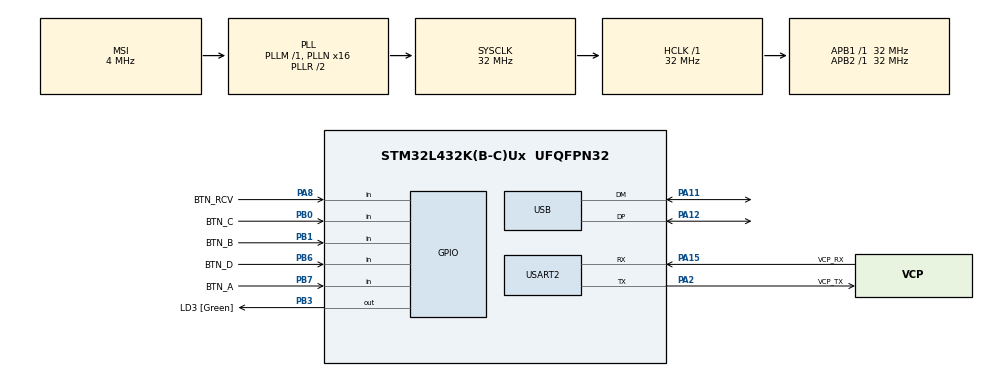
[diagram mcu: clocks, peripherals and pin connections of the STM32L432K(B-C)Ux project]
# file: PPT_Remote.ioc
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Dma.Request0=USART2_TX
Dma.USART2_TX.0.Direction=DMA_MEMORY_TO_PERIPH
Dma.USART2_TX.0.Instance=DMA1_Channel7
Dma.USART2_TX.0.MemDataAlignment=DMA_MDATAALIGN_BYTE
Dma.USART2_TX.0.MemInc=DMA_MINC_ENABLE
Dma.USART2_TX.0.Mode=DMA_NORMAL
Dma.USART2_TX.0.PeriphDataAlignment=DMA_PDATAALIGN_BYTE
Dma.USART2_TX.0.PeriphInc=DMA_PINC_DISABLE
Dma.USART2_TX.0.Priority=DMA_PRIORITY_LOW
Mcu.Family=STM32L4
Mcu.Name=STM32L432K(B-C)Ux
Mcu.Package=UFQFPN32
NVIC.DMA1_Channel7_IRQn=true\:0\:0\:false\:false\:true\:false
NVIC.PriorityGroup=NVIC_PRIORITYGROUP_4
NVIC.USART2_IRQn=true\:0\:0\:false\:false\:true\:true
NVIC.USB_IRQn=true\:0\:0\:false\:false\:true\:false
PA0.GPIO_Label=MCO [High speed clock in]
PA0.Mode=HSE-External-Clock-Source-for-LittleOrca
PA0.Signal=RCC_CK_IN
PA11.Mode=Device
PA11.Signal=USB_DM
PA12.Mode=Device
PA12.Signal=USB_DP
PA13\ (JTMS-SWDIO).GPIO_Label=SWDIO
PA13\ (JTMS-SWDIO).Mode=Serial_Wire
PA13\ (JTMS-SWDIO).Signal=SYS_JTMS-SWDIO
PA14\ (JTCK-SWCLK).GPIO_Label=SWCLK
PA14\ (JTCK-SWCLK).Mode=Serial_Wire
PA14\ (JTCK-SWCLK).Signal=SYS_JTCK-SWCLK
PA15\ (JTDI).GPIO_Label=VCP_RX
PA15\ (JTDI).Mode=Asynchronous
PA15\ (JTDI).Signal=USART2_RX
PA2.GPIO_Label=VCP_TX
PA2.Mode=Asynchronous
PA2.Signal=USART2_TX
PA8.GPIO_Label=BTN_RCV
PA8.GPIO_PuPd=GPIO_PULLDOWN
PA8.Signal=GPIO_Input
PB0.GPIO_Label=BTN_C
PB0.GPIO_PuPd=GPIO_PULLDOWN
PB0.Signal=GPIO_Input
PB1.GPIO_Label=BTN_B
PB1.GPIO_PuPd=GPIO_PULLDOWN
PB1.Signal=GPIO_Input
PB3\ (JTDO-TRACESWO).GPIO_Label=LD3 [Green]
PB3\ (JTDO-TRACESWO).Signal=GPIO_Output
PB6.GPIO_Label=BTN_D
PB6.GPIO_PuPd=GPIO_PULLDOWN
PB6.Signal=GPIO_Input
PB7.GPIO_Label=BTN_A
PB7.GPIO_PuPd=GPIO_PULLDOWN
PB7.Signal=GPIO_Input
PC14-OSC32_IN\ (PC14).Mode=LSE-External-Oscillator
PC14-OSC32_IN\ (PC14).Signal=RCC_OSC32_IN
PC15-OSC32_OUT\ (PC15).Mode=LSE-External-Oscillator
PC15-OSC32_OUT\ (PC15).Signal=RCC_OSC32_OUT
ProjectManager.HeapSize=0x200
ProjectManager.StackSize=0x400
ProjectManager.TargetToolchain=SW4STM32
RCC.ADCFreq_Value=48000000
RCC.AHBFreq_Value=32000000
RCC.APB1Freq_Value=32000000
RCC.APB1TimFreq_Value=32000000
RCC.APB2Freq_Value=32000000
RCC.APB2TimFreq_Value=32000000
RCC.CortexFreq_Value=32000000
RCC.HCLKFreq_Value=32000000
RCC.HSE_VALUE=8000000
RCC.HSI16_VALUE=16000000
RCC.HSI48_VALUE=48000000
RCC.HSI_VALUE=16000000
RCC.MSI_VALUE=4000000
RCC.PLLMUL=RCC_PLLMUL_4
RCC.PLLN=16
RCC.PLLSAI1N=24
RCC.SYSCLKFreq_VALUE=32000000
RCC.SYSCLKSource=RCC_SYSCLKSOURCE_PLLCLK
RCC.USBFreq_Value=48000000
RCC.VCOOutputFreq_Value=64000000
USART2.VirtualMode-Asynchronous=VM_ASYNC
USB_DEVICE.CLASS_NAME_FS=HID
USB_DEVICE.USBD_SUPPORT_USER_STRING=0
USB_DEVICE.VirtualMode=Hid
USB_DEVICE.VirtualModeFS=Hid_FS
VP_USB_DEVICE_VS_USB_DEVICE_HID_FS.Mode=HID_FS
board=NUCLEO-L432KC

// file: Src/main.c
/**
  ******************************************************************************
  * @file           : main.c
  * @brief          : Main program body
  ******************************************************************************
  * This notice applies to any and all portions of this file
  * that are not between comment pairs USER CODE BEGIN and
  * USER CODE END. Other portions of this file, whether
  * inserted by the user or by software development tools
  * are owned by their respective copyright owners.
  *
  * Copyright (c) 2018 STMicroelectronics International N.V.
  * All rights reserved.
  *
  * Redistribution and use in source and binary forms, with or without
  * modification, are permitted, provided that the following conditions are met:
  *
  * 1. Redistribution of source code must retain the above copyright notice,
  *    this list of conditions and the following disclaimer.
  * 2. Redistributions in binary form must reproduce the above copyright notice,
  *    this list of conditions and the following disclaimer in the documentation
  *    and/or other materials provided with the distribution.
  * 3. Neither the name of STMicroelectronics nor the names of other
  *    contributors to this software may be used to endorse or promote products
  *    derived from this software without specific written permission.
  * 4. This software, including modifications and/or derivative works of this
  *    software, must execute solely and exclusively on microcontroller or
  *    microprocessor devices manufactured by or for STMicroelectronics.
  * 5. Redistribution and use of this software other than as permitted under
  *    this license is void and will automatically terminate your rights under
  *    this license.
  *
  * THIS SOFTWARE IS PROVIDED BY STMICROELECTRONICS AND CONTRIBUTORS "AS IS"
  * AND ANY EXPRESS, IMPLIED OR STATUTORY WARRANTIES, INCLUDING, BUT NOT
  * LIMITED TO, THE IMPLIED WARRANTIES OF MERCHANTABILITY, FITNESS FOR A
  * PARTICULAR PURPOSE AND NON-INFRINGEMENT OF THIRD PARTY INTELLECTUAL PROPERTY
  * RIGHTS ARE DISCLAIMED TO THE FULLEST EXTENT PERMITTED BY LAW. IN NO EVENT
  * SHALL STMICROELECTRONICS OR CONTRIBUTORS BE LIABLE FOR ANY DIRECT, INDIRECT,
  * INCIDENTAL, SPECIAL, EXEMPLARY, OR CONSEQUENTIAL DAMAGES (INCLUDING, BUT NOT
  * LIMITED TO, PROCUREMENT OF SUBSTITUTE GOODS OR SERVICES; LOSS OF USE, DATA,
  * OR PROFITS; OR BUSINESS INTERRUPTION) HOWEVER CAUSED AND ON ANY THEORY OF
  * LIABILITY, WHETHER IN CONTRACT, STRICT LIABILITY, OR TORT (INCLUDING
  * NEGLIGENCE OR OTHERWISE) ARISING IN ANY WAY OUT OF THE USE OF THIS SOFTWARE,
  * EVEN IF ADVISED OF THE POSSIBILITY OF SUCH DAMAGE.
  *
  ******************************************************************************
  */
#include "main.h"
#include "stm32l4xx_hal.h"
#include "dma.h"
#include "usart.h"
#include "usb_device.h"
#include "gpio.h"

/* USER CODE BEGIN Includes */

#include "usb_hid_keyboard_to_ascii.h"
#include "usb_hid_presenter.h"

/* USER CODE END Includes */

/* USER CODE BEGIN PV */
/* Private variables ---------------------------------------------------------*/

// https://gist.github.com/MightyPork/6da26e382a7ad91b5496ee55fdc73db2

/* USER CODE END PV */

void SystemClock_Config(void);

/* USER CODE BEGIN PFP */
/* Private function prototypes -----------------------------------------------*/

/* USER CODE END PFP */

int main(void)
{
  /* USER CODE BEGIN 1 */
	uint8_t btn_a_pressed = 0;
	uint8_t btn_b_pressed = 0;
	uint8_t btn_c_pressed = 0;
	uint8_t btn_d_pressed = 0;

  /* USER CODE END 1 */

  /* MCU Configuration----------------------------------------------------------*/

  /* Reset of all peripherals, Initializes the Flash interface and the Systick. */
  HAL_Init();

  /* Configure the system clock */
  SystemClock_Config();

  /* Initialize all configured peripherals */
  MX_GPIO_Init();
  MX_DMA_Init();
  MX_USART2_UART_Init();
  MX_USB_DEVICE_Init();

  /* Infinite loop */
  while (1)
  {

  /* USER CODE BEGIN 3 */
	  if(GPIO_PIN_SET == HAL_GPIO_ReadPin(BTN_A_GPIO_Port, BTN_A_Pin))
	  {
		  if (btn_a_pressed == 0)
		  {
			  btn_a_pressed = 1;
			  usb_hid_presenter_execute(PPT_BTN_PREV);
		  }
	  }
	  else
	  {
		  btn_a_pressed = 0;
	  }

	  if(GPIO_PIN_SET == HAL_GPIO_ReadPin(BTN_B_GPIO_Port, BTN_B_Pin))
	  {
		  if (btn_b_pressed == 0)
		  {
			  btn_b_pressed = 1;
			  usb_hid_presenter_execute(PPT_BTN_NEXT);
		  }
	  }
	  else
	  {
		  btn_b_pressed = 0;
	  }

	  if(GPIO_PIN_SET == HAL_GPIO_ReadPin(BTN_C_GPIO_Port, BTN_C_Pin))
	  {
		  if (btn_c_pressed == 0)
		  {
			  btn_c_pressed = 1;
			  usb_hid_presenter_execute(PPT_BTN_START);
		  }
	  }
	  else
	  {
		  btn_c_pressed = 0;
	  }

	  if(GPIO_PIN_SET == HAL_GPIO_ReadPin(BTN_D_GPIO_Port, BTN_D_Pin))
	  {
		  if (btn_d_pressed == 0)
		  {
			  btn_d_pressed = 1;
			  usb_hid_presenter_execute(PPT_BTN_END);
		  }
	  }
	  else
	  {
		  btn_d_pressed = 0;
	  }

	  if (btn_a_pressed | btn_b_pressed | btn_c_pressed | btn_d_pressed)
	  {
		  HAL_GPIO_WritePin(LD3_GPIO_Port, LD3_Pin, GPIO_PIN_SET);
	  }
	  else
	  {
		  HAL_GPIO_WritePin(LD3_GPIO_Port, LD3_Pin, GPIO_PIN_RESET);
	  }
  }
  /* USER CODE END 3 */

}

void SystemClock_Config(void)
{

  RCC_OscInitTypeDef RCC_OscInitStruct;
  RCC_ClkInitTypeDef RCC_ClkInitStruct;
  RCC_PeriphCLKInitTypeDef PeriphClkInit;

    /**Configure LSE Drive Capability
    */
  __HAL_RCC_LSEDRIVE_CONFIG(RCC_LSEDRIVE_LOW);

    /**Initializes the CPU, AHB and APB busses clocks
    */
  RCC_OscInitStruct.OscillatorType = RCC_OSCILLATORTYPE_LSE|RCC_OSCILLATORTYPE_MSI;
  RCC_OscInitStruct.LSEState = RCC_LSE_ON;
  RCC_OscInitStruct.MSIState = RCC_MSI_ON;
  RCC_OscInitStruct.MSICalibrationValue = 0;
  RCC_OscInitStruct.MSIClockRange = RCC_MSIRANGE_6;
  RCC_OscInitStruct.PLL.PLLState = RCC_PLL_ON;
  RCC_OscInitStruct.PLL.PLLSource = RCC_PLLSOURCE_MSI;
  RCC_OscInitStruct.PLL.PLLM = 1;
  RCC_OscInitStruct.PLL.PLLN = 16;
  RCC_OscInitStruct.PLL.PLLP = RCC_PLLP_DIV7;
  RCC_OscInitStruct.PLL.PLLQ = RCC_PLLQ_DIV2;
  RCC_OscInitStruct.PLL.PLLR = RCC_PLLR_DIV2;
  if (HAL_RCC_OscConfig(&RCC_OscInitStruct) != HAL_OK)
  {
    _Error_Handler(__FILE__, __LINE__);
  }

    /**Initializes the CPU, AHB and APB busses clocks
    */
  RCC_ClkInitStruct.ClockType = RCC_CLOCKTYPE_HCLK|RCC_CLOCKTYPE_SYSCLK
                              |RCC_CLOCKTYPE_PCLK1|RCC_CLOCKTYPE_PCLK2;
  RCC_ClkInitStruct.SYSCLKSource = RCC_SYSCLKSOURCE_PLLCLK;
  RCC_ClkInitStruct.AHBCLKDivider = RCC_SYSCLK_DIV1;
  RCC_ClkInitStruct.APB1CLKDivider = RCC_HCLK_DIV1;
  RCC_ClkInitStruct.APB2CLKDivider = RCC_HCLK_DIV1;

  if (HAL_RCC_ClockConfig(&RCC_ClkInitStruct, FLASH_LATENCY_1) != HAL_OK)
  {
    _Error_Handler(__FILE__, __LINE__);
  }

  PeriphClkInit.PeriphClockSelection = RCC_PERIPHCLK_USART2|RCC_PERIPHCLK_USB;
  PeriphClkInit.Usart2ClockSelection = RCC_USART2CLKSOURCE_PCLK1;
  PeriphClkInit.UsbClockSelection = RCC_USBCLKSOURCE_PLLSAI1;
  PeriphClkInit.PLLSAI1.PLLSAI1Source = RCC_PLLSOURCE_MSI;
  PeriphClkInit.PLLSAI1.PLLSAI1M = 1;
  PeriphClkInit.PLLSAI1.PLLSAI1N = 24;
  PeriphClkInit.PLLSAI1.PLLSAI1P = RCC_PLLP_DIV7;
  PeriphClkInit.PLLSAI1.PLLSAI1Q = RCC_PLLQ_DIV2;
  PeriphClkInit.PLLSAI1.PLLSAI1R = RCC_PLLR_DIV2;
  PeriphClkInit.PLLSAI1.PLLSAI1ClockOut = RCC_PLLSAI1_48M2CLK;
  if (HAL_RCCEx_PeriphCLKConfig(&PeriphClkInit) != HAL_OK)
  {
    _Error_Handler(__FILE__, __LINE__);
  }

    /**Configure the main internal regulator output voltage
    */
  if (HAL_PWREx_ControlVoltageScaling(PWR_REGULATOR_VOLTAGE_SCALE1) != HAL_OK)
  {
    _Error_Handler(__FILE__, __LINE__);
  }

    /**Configure the Systick interrupt time
    */
  HAL_SYSTICK_Config(HAL_RCC_GetHCLKFreq()/1000);

    /**Configure the Systick
    */
  HAL_SYSTICK_CLKSourceConfig(SYSTICK_CLKSOURCE_HCLK);

    /**Enable MSI Auto calibration
    */
  HAL_RCCEx_EnableMSIPLLMode();

  /* SysTick_IRQn interrupt configuration */
  HAL_NVIC_SetPriority(SysTick_IRQn, 0, 0);
}

void _Error_Handler(char *file, int line)
{
  while(1)
  {
  }
}

/************************ (C) COPYRIGHT STMicroelectronics *****END OF FILE****/
